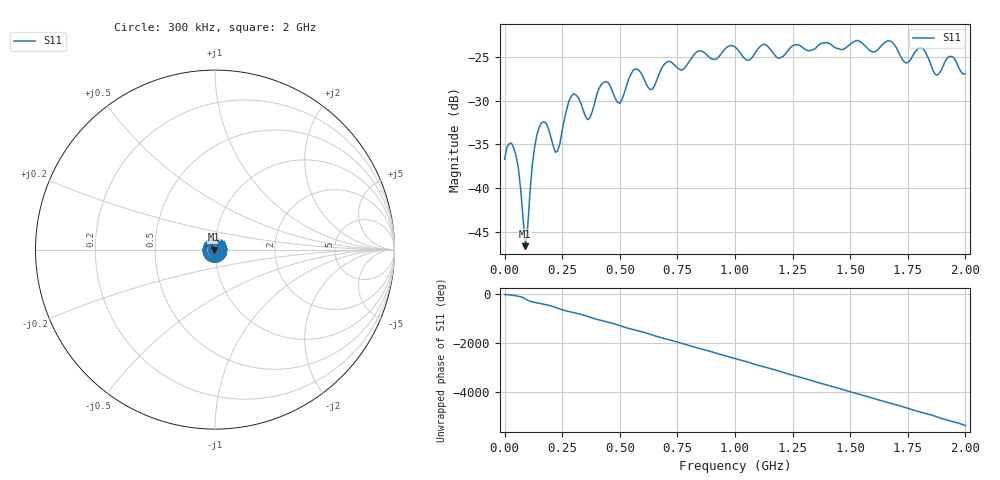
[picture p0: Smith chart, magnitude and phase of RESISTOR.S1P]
!Agilent Technologies,E5071C,MY46520295,B.13.20
!Date: Fri Feb 09 06:55:53 2024
!Data & Calibration Information:
!Freq	S11:NONE(--)
!PortZ  Port1:50+j0
!Above PortZ is port z conversion or system Z0 setting when saving the data.
!When reading, reference impedance value at option line is always used.
# Hz S RI R 50
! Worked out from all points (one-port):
!   201 points, 300 kHz to 2 GHz, reference 50 ohm
!   lowest |S11| = -46.7 dB at 90.29 MHz (marker M1), VSWR 1.01, Z = 49.5 - j0.00248 ohm
!   |S11| at or under -10 dB: start of sweep to end of sweep
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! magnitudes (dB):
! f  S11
! 300 kHz  -36.7
! 20.3 MHz  -34.9
! 50.29 MHz  -36.3
! 90.29 MHz  -46.7
! 120.3 MHz  -37.4
! 150.3 MHz  -33.1
! 180.3 MHz  -32.6
! 220.3 MHz  -35.9
! 250.3 MHz  -33.4
! 300.3 MHz  -29.2
! 360.2 MHz  -32.2
! 430.2 MHz  -27.9
! 500.2 MHz  -30.3
! 560.2 MHz  -26.4
! 640.2 MHz  -28.7
! 700.2 MHz  -25.6
! 750.2 MHz  -26.2
! 1 GHz  -23.8
! 1.06 GHz  -25.3
! 1.12 GHz  -23.5
! 1.25 GHz  -23.7
! 1.5 GHz  -23.5
! 1.67 GHz  -23.1
! 1.75 GHz  -25.6
! 1.81 GHz  -23.9
! 1.87 GHz  -27.0
! 1.93 GHz  -24.9
! 2 GHz  -26.9
